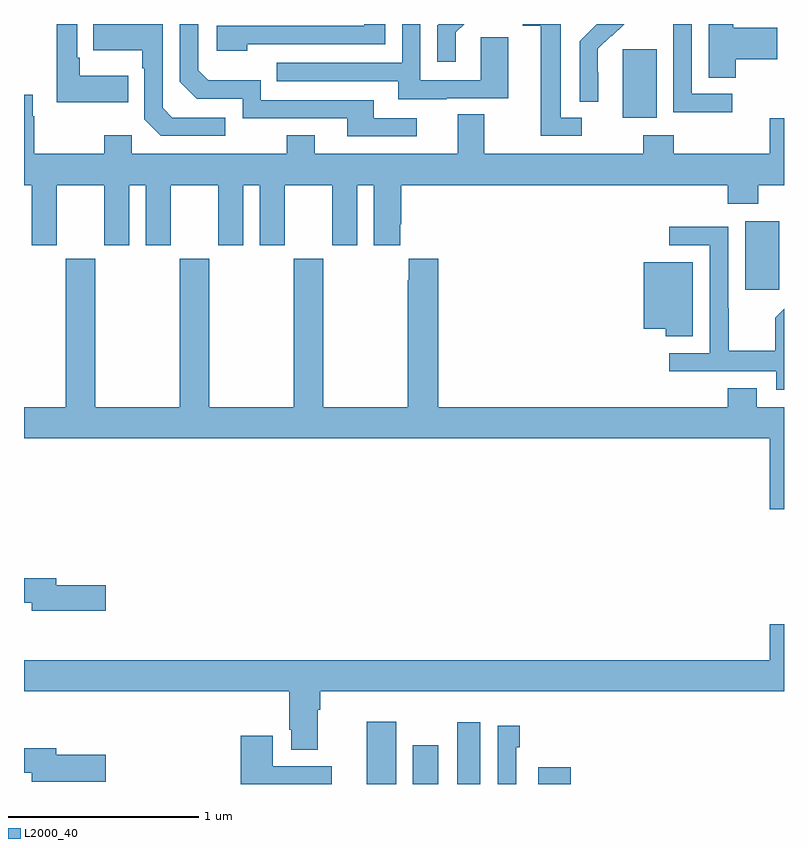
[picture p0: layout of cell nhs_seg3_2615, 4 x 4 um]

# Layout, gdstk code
import gdstk
lib = gdstk.Library(unit=1e-6, precision=1e-09)
def R(c, l, rs):  # rectangles x0, y0, x1, y1
    for r in rs: c.add(gdstk.rectangle(r[:2], r[2:], *l))
def P(c, l, *ps):  # polygons
    for p in ps: c.add(gdstk.Polygon(p, *l))
L2000_40 = (2000, 40)

nhs_seg3_2615 = lib.new_cell('nhs_seg3_2615')
R(nhs_seg3_2615, L2000_40, [(246.803,728.4,246.958,728.728), (247.046,728.4,247.18,728.605), (247.28,728.4,247.402,728.725), (247.706,728.4,247.877,728.488), (248.795,731.001,248.974,731.362), (248.15,731.906,248.329,732.267)])
P(nhs_seg3_2615, L2000_40, [(247.066,731.904),(246.841,731.904),(246.841,732),(246.246,732),(246.246,732.103),(245.969,732.103),(245.916,732.156),(245.916,732.4),(245.82,732.4),(245.82,732.096),(245.91,732.006),(246.15,732.006),(246.15,731.904),(246.701,731.904),(246.701,731.808),(247.066,731.808)],
  [(247.225,732.009),(247.549,732.009),(247.549,732.329),(247.404,732.329),(247.404,732.105),(247.086,732.105),(247.086,732.4),(246.99,732.4),(246.99,732.195),(246.331,732.195),(246.331,732.099),(246.971,732.099),(246.971,732.005),(247.225,732.005)],
  [(246.176,732.294),(246.9,732.294),(246.9,732.4),(246.791,732.4),(246.791,732.39),(246.015,732.39),(246.015,732.26),(246.176,732.26)],
  [(245.549,732.127),(245.293,732.127),(245.293,732.223),(245.28,732.223),(245.28,732.4),(245.172,732.4),(245.172,731.987),(245.549,731.987)],
  [(248.747,732.214),(248.965,732.214),(248.965,732.379),(248.734,732.379),(248.734,732.4),(248.603,732.4),(248.603,732.118),(248.747,732.118)],
  [(248.022,732.146),(248.021,732.146),(248.021,732.269),(248.091,732.339),(248.094,732.336),(248.158,732.4),(248.014,732.4),(247.998,732.384),(247.999,732.383),(247.926,732.31),(247.926,731.992),(248.022,731.992)],
  [(248.728,732.033),(248.514,732.033),(248.514,732.4),(248.416,732.4),(248.416,732.364),(248.418,732.364),(248.418,731.935),(248.728,731.935)],
  [(247.273,732.357),(247.316,732.4),(247.182,732.4),(247.176,732.394),(247.176,732.201),(247.273,732.201)],
  [(247.936,731.907),(247.825,731.907),(247.825,732.4),(247.625,732.4),(247.625,732.392),(247.721,732.392),(247.721,731.811),(247.936,731.811)],
  [(246.058,731.907),(245.781,731.907),(245.73,731.958),(245.73,732.4),(245.365,732.4),(245.365,732.263),(245.622,732.263),(245.622,732.167),(245.634,732.167),(245.634,731.898),(245.721,731.811),(246.058,731.811)],
  [(245.173,731.552),(245.423,731.552),(245.423,731.235),(245.554,731.235),(245.554,731.552),(245.642,731.552),(245.642,731.235),(245.773,731.235),(245.773,731.552),(246.023,731.552),(246.023,731.235),(246.154,731.235),(246.154,731.552),(246.242,731.552),(246.242,731.235),(246.373,731.235),(246.373,731.552),(246.623,731.552),(246.623,731.235),(246.754,731.235),(246.754,731.552),(246.842,731.552),(246.842,731.235),(246.979,731.235),(246.979,731.347),(246.986,731.347),(246.986,731.552),(248.705,731.552),(248.705,731.453),(248.865,731.453),(248.865,731.552),(249,731.552),(249,731.905),(248.924,731.905),(248.924,731.716),(248.42,731.716),(248.42,731.815),(248.26,731.815),(248.26,731.716),(247.423,731.716),(247.423,731.924),(247.283,731.924),(247.283,731.716),(246.529,731.716),(246.529,731.815),(246.382,731.815),(246.382,731.716),(245.568,731.716),(245.568,731.815),(245.422,731.815),(245.422,731.716),(245.055,731.716),(245.055,731.915),(245.047,731.915),(245.047,732.028),(245,732.028),(245,731.552),(245.042,731.552),(245.042,731.235),(245.173,731.235)],
  [(249,730.902),(248.953,730.855),(248.953,730.681),(248.709,730.681),(248.709,730.904),(248.706,730.904),(248.706,731.334),(248.397,731.334),(248.397,731.235),(248.61,731.235),(248.61,730.668),(248.397,730.668),(248.397,730.572),(248.958,730.572),(248.958,730.475),(249,730.475)],
  [(248.924,729.846),(249,729.846),(249,730.384),(248.857,730.384),(248.857,730.483),(248.705,730.483),(248.705,730.384),(247.181,730.384),(247.181,731.164),(247.025,731.164),(247.025,731.051),(247.021,731.051),(247.021,730.384),(246.576,730.384),(246.576,731.164),(246.421,731.164),(246.421,730.384),(245.976,730.384),(245.976,731.164),(245.821,731.164),(245.821,730.384),(245.376,730.384),(245.376,731.164),(245.221,731.164),(245.221,730.384),(245,730.384),(245,730.22),(248.924,730.22)],
  [(248.521,731.146),(248.261,731.146),(248.261,730.796),(248.378,730.796),(248.378,730.757),(248.521,730.757)],
  [(245.431,729.446),(245.17,729.446),(245.17,729.482),(245,729.482),(245,729.354),(245.042,729.354),(245.042,729.311),(245.431,729.311)],
  [(246.547,728.792),(246.56,728.792),(246.56,728.888),(249,728.888),(249,729.241),(248.924,729.241),(248.924,729.052),(245,729.052),(245,728.888),(246.395,728.888),(246.395,728.686),(246.407,728.686),(246.407,728.579),(246.547,728.579)],
  [(247.59,728.594),(247.61,728.594),(247.61,728.707),(247.494,728.707),(247.494,728.4),(247.59,728.4)],
  [(246.619,728.494),(246.31,728.494),(246.31,728.653),(246.14,728.653),(246.14,728.4),(246.619,728.4)],
  [(245.431,728.553),(245.17,728.553),(245.17,728.587),(245,728.587),(245,728.458),(245.042,728.458),(245.042,728.411),(245.431,728.411)])

lib.write_gds('nhs_seg3_2615.gds')
